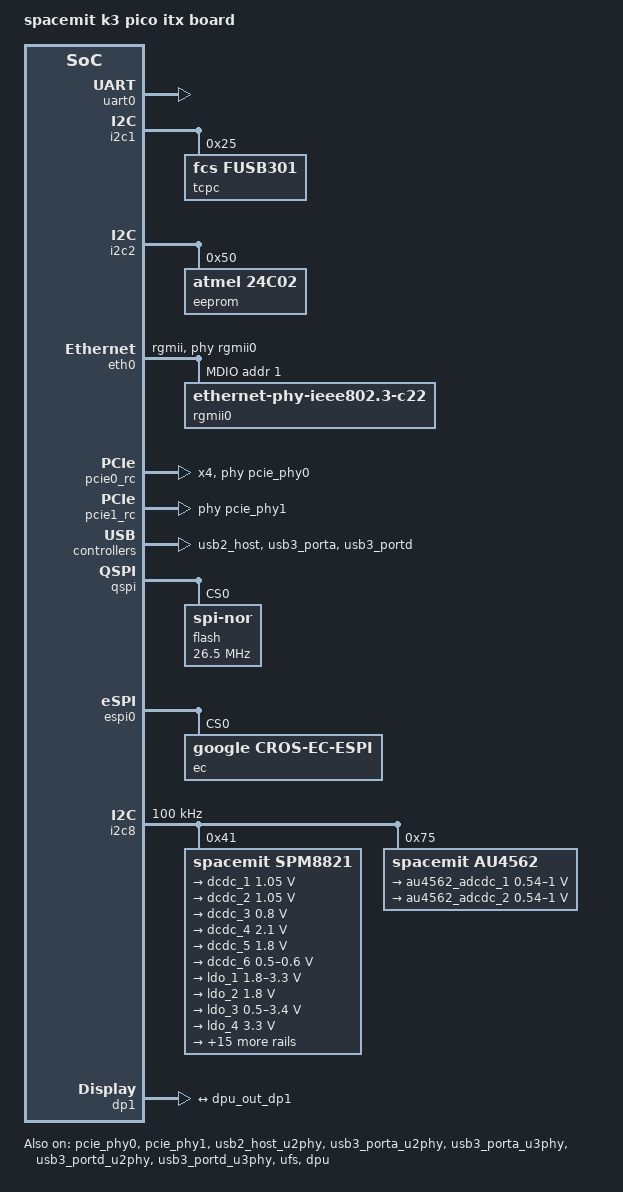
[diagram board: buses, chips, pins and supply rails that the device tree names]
// SPDX-License-Identifier: GPL-2.0
/*
 * finch board's base device tree configure.
 *
 * Copyright (C) 2025 SPACEMIT Micro Limited
 */

#include "k3.dtsi"
#include "k3-pinctrl.dtsi"
#include <dt-bindings/usb/pd.h>

/ {
	model = "spacemit k3 pico itx board";
};

&cpus {
	timebase-frequency = <24000000>;
	clocks = <&ccu CLK_TOP_DCLK>,
		 <&ccu CLK_AXICLK>,
		 <&ccu CLK_CCI550>,
		 <&ccu CLK_CPU_C0_CORE>,
		 <&ccu CLK_CPU_C1_CORE>,
		 <&ccu CLK_CPU_C2_CORE>,
		 <&ccu CLK_CPU_C3_CORE>,
		 <&ccu CLK_PLL3>,
		 <&ccu CLK_PLL4>,
		 <&ccu CLK_PLL5>,
		 <&ccu CLK_PLL8>,
		 <&ccu CLK_PLL3_D1>,
		 <&ccu CLK_CPU_C1_PLL_SRC>,
		 <&ccu CLK_PLL5_D1>,
		 <&ccu CLK_CPU_C3_PLL_SRC>;
	clock-names = "topd", "axi", "cci", "cluster0", "cluster1", "cluster2", "cluster3",
		       "pll3", "pll4", "pll5", "pll8", "pll_src3", "clt1_pll_src", "pll_src5", "clt3_pll_src";
	topd_frequency = <800000000>;
	axi_frequency =  <307000000>;
	cci_frequency =  <1228000000>;
	cluster0_frequency = <2200000000>;
	cluster1_frequency = <2200000000>;
	cluster2_frequency = <1800000000>;
	cluster3_frequency = <1800000000>;
};

&pinctrl {
	pinctrl-single,gpio-range = <
		&range GPIO_89  1 (MUX_MODE0 | EDGE_NONE | PULL_UP   | PAD_DS4)
	>;

	gmac0_grp {
		power-source = <1800>;
	};

	pcie0_1_grp {
		pinctrl-single,pins =<
			K3_PADCONF(GPIO_79, MUX_MODE5, (EDGE_NONE | PULL_UP | PAD_DS15))
			K3_PADCONF(GPIO_81, MUX_MODE5, (EDGE_NONE | PULL_UP | PAD_DS15))
		>;

		power-source = <1800>;
	};

	pcie1_1_grp {
		pinctrl-single,pins =<
			K3_PADCONF(GPIO_88, MUX_MODE4, (EDGE_NONE | PULL_UP | PAD_DS4)) /* PCIeB_perstn */
			K3_PADCONF(GPIO_90, MUX_MODE4, (EDGE_NONE | PULL_UP | PAD_DS4)) /* PCIeB_clkreqn */
		>;
		power-source = <1800>;
	};

	espi0_grp {
		power-source = <1800>;
	};

	usb30_drd_dir_0_cfg: usb30_drd_dir-0-cfg {
		pinctrl-single,pins =<
			K3_PADCONF(GPIO_86, MUX_MODE6, (EDGE_NONE | PULL_UP | PAD_DS8)) /* usb30 drd dir */
		>;
		power-source = <1800>;
	};
};

&gpio{
	gpio-ranges = <
		&pinctrl 89 GPIO_89 1
	>;
};

&uart0 {
	status = "okay";
};

&i2c1 {
	pinctrl-names = "default";
	pinctrl-0 = <&pinctrl_i2c1_3>;
	status = "okay";

	tcpc@25 {
		compatible = "fcs,fusb301";
		reg = <0x25>;

		connector {
			compatible = "usb-c-connector";
			label = "USB-C";
			power-role = "dual";
			data-role = "dual";
			try-power-role = "sink";
			source-pdos = <PDO_FIXED(5000, 2500, PDO_FIXED_USB_COMM)>;
			sink-pdos = <PDO_FIXED(5000, 1400, PDO_FIXED_USB_COMM)>;
			op-sink-microwatt = <15000000>;
			self-powered;
		};
	};
};

&i2c2 {
	#address-cells = <1>;
	#size-cells = <0>;
	pinctrl-names = "default";
	pinctrl-0 = <&pinctrl_i2c2_1>;
	status = "okay";

	eeprom@50{
		compatible = "atmel,24c02";
		reg = <0x50>;
		status = "okay";
	};
};

&eth0 {
	pinctrl-names = "default";
	pinctrl-0 = <&pinctrl_gmac0>;

	phy-reset-pin = <15>;
	max-speed = <1000>;
	clk_tuning_enable;
	clk-tuning-by-delayline;

	tx-phase = <73>;
	rx-phase = <61>;

	phy-mode = "rgmii";
	phy-handle = <&rgmii0>;

	status = "okay";

	mdio {
		#address-cells = <0x1>;
		#size-cells = <0x0>;
		rgmii0: phy@0 {
			compatible = "ethernet-phy-ieee802.3-c22";
			device_type = "ethernet-phy";
			reg = <0x1>;
		};
	};
};

&pcie_phy0 {
	status = "okay";
};

&pcie_phy1 {
	status = "okay";
};

&pcie0_rc {
	pinctrl-names = "default";
	pinctrl-0 = <&pinctrl_pcie0_1>;
	num-lanes = <4>;
	phys = <&pcie_phy0>, <&pcie_phy1>;
	phy-names = "pcie-phy0", "pcie-phy1";
	spacemit,device-detect = <&gpio 89 0>;

	status = "okay";
};

&pcie1_rc {
	pinctrl-names = "default";
	pinctrl-0 = <&pinctrl_pcie1_1>;

	phys = <&pcie_phy1>;
	phy-names = "pcie-phy0";
	status = "okay";
};

&usb2_host_u2phy {
	status = "okay";
};

&usb2_host {
	status = "okay";
};

&usb3_porta_u2phy {
	status = "okay";
};

&usb3_porta_u3phy {
	/* dual phy selection is auto detect from GPIO86(SS_SW_3V3) */
	pinctrl-names = "default";
	pinctrl-0 = <&usb30_drd_dir_0_cfg>;
	status = "okay";
};

&usb3_porta {
	status = "okay";
	u-boot,dm-spl;
	dwc3@cad00000 {
		dr_mode = "peripheral";
		u-boot,dm-spl;
	};
};

&usb3_portd_u2phy {
	status = "okay";
};

&usb3_portd_u3phy {
       status = "okay";
};

&usb3_portd {
	/* TypeC (USB3/DP/Power) (with ANX7447 chip) */
	status = "okay";
};

&ufs {
	status = "okay";
};

&qspi {
	status = "okay";

	flash@0 {
		compatible = "jedec,spi-nor";
		reg = <0>;
		spi-max-frequency = <26500000>;
		m25p,fast-read;
		broken-flash-reset;
		status = "okay";
	};
};

&espi0{
	status = "okay";

	ec: ec@0 {
		compatible = "google,cros-ec-espi";
		reg = <0x0>;

		/* eSPI VW GPIO interrupt configuration */
		espi-vw-gpio-wire = <0>;       /* Wire 0 within the group */
		espi-vw-gpio-index = <0x82>;   /* VM index 0x82 (Group 2/130) */

		i2c_tunnel: i2c-tunnel {
			compatible = "google,cros-ec-i2c-tunnel";
			#address-cells = <1>;
			#size-cells = <0>;
			google,remote-bus = <1>;

			rt7451: retimer@13 {
				compatible = "retimer,rt7451";
				reg = <0x13>;
				primary-addr = <0x13>;
				secondary-addr = <0x29>;
				status = "okay";
			};
		};
	};
};

&i2c8 {
	clock-frequency = <100000>;
	u-boot,dm-spl;
	pinctrl-names = "default";
	pinctrl-0 = <&pinctrl_i2c8>;
	spacemit,sda-glitch-nofix;
	status = "okay";

	spm8821: pmic@41 {
		compatible = "spacemit,spm8821";
		reg = <0x41>;
		bus = <8>;
		u-boot,dm-spl;

		regulators {
			/* buck */
			dcdc_1: DCDC_REG1 {
				regulator-name = "dcdc1";
				regulator-min-microvolt = <1050000>;
				regulator-max-microvolt = <1050000>;
				/* regulator-init-microvolt = <1050000>; */
				regulator-always-on;
				regulator-boot-on;
				u-boot,dm-spl;
			};

			dcdc_2: DCDC_REG2 {
				regulator-name = "dcdc2";
				regulator-min-microvolt = <1050000>;
				regulator-max-microvolt = <1050000>;
				regulator-always-on;
				regulator-boot-on;
			};

			dcdc_3: DCDC_REG3 {
				regulator-name = "dcdc3";
				regulator-min-microvolt = <800000>;
				regulator-max-microvolt = <800000>;
				regulator-always-on;
				regulator-boot-on;
				u-boot,dm-spl;
			};

			dcdc_4: DCDC_REG4 {
				regulator-name = "dcdc4";
				regulator-min-microvolt = <2100000>;
				regulator-max-microvolt = <2100000>;
				regulator-always-on;
				regulator-boot-on;
			};

			dcdc_5: DCDC_REG5 {
				regulator-name = "dcdc5";
				regulator-min-microvolt = <1800000>;
				regulator-max-microvolt = <1800000>;
				regulator-always-on;
				regulator-boot-on;
			};

			dcdc_6: DCDC_REG6 {
				regulator-name = "dcdc6";
				regulator-min-microvolt = <500000>;
				regulator-max-microvolt = <600000>;
				regulator-always-on;
				regulator-boot-on;
			};

			/* aldo */
			ldo_1: LDO_REG1 {
				regulator-name = "ldo1";
				regulator-min-microvolt = <1800000>;
				regulator-max-microvolt = <3300000>;
				/* regulator-init-microvolt = <3300000>; */
				regulator-always-on;
				regulator-boot-on;
				u-boot,dm-spl;
			};

			ldo_2: LDO_REG2 {
				regulator-name = "ldo2";
				regulator-min-microvolt = <1800000>;
				regulator-max-microvolt = <1800000>;
				regulator-always-on;
				regulator-boot-on;
			};

			ldo_3: LDO_REG3 {
				regulator-name = "ldo3";
				regulator-min-microvolt = <500000>;
				regulator-max-microvolt = <3400000>;
			};

			ldo_4: LDO_REG4 {
				regulator-name = "ldo4";
				regulator-min-microvolt = <3300000>;
				regulator-max-microvolt = <3300000>;
				regulator-always-on;
				regulator-boot-on;
			};

			/* dldo */
			ldo_5: LDO_REG5 {
				regulator-name = "ldo5";
				regulator-min-microvolt = <1200000>;
				regulator-max-microvolt = <1200000>;
				regulator-always-on;
				regulator-boot-on;
			};

			ldo_6: LDO_REG6 {
				regulator-name = "ldo6";
				regulator-min-microvolt = <900000>;
				regulator-max-microvolt = <900000>;
				regulator-always-on;
				regulator-boot-on;
			};

			ldo_7: LDO_REG7 {
				regulator-name = "ldo7";
				regulator-min-microvolt = <800000>;
				regulator-max-microvolt = <800000>;
				regulator-always-on;
				regulator-boot-on;
			};

			ldo_8: LDO_REG8 {
				regulator-name = "ldo8";
				regulator-min-microvolt = <1800000>;
				regulator-max-microvolt = <1800000>;
				regulator-boot-on;
			};

			ldo_9: LDO_REG9 {
				regulator-name = "ldo9";
				regulator-min-microvolt = <1800000>;
				regulator-max-microvolt = <1800000>;
				regulator-always-on;
				regulator-boot-on;
			};

			ldo_10: LDO_REG10 {
				regulator-name = "ldo10";
				regulator-min-microvolt = <1800000>;
				regulator-max-microvolt = <1800000>;
				regulator-always-on;
				regulator-boot-on;
			};

			ldo_11: LDO_REG11 {
				regulator-name = "ldo11";
				regulator-min-microvolt = <1800000>;
				regulator-max-microvolt = <1800000>;
				regulator-always-on;
				regulator-boot-on;
			};

			sw_2: SWITCH_REG1 {
				regulator-name = "switch1";
			};

			power_event: SWITCH_REG2 {
				regulator-name = "pwr-event";
			};

			power_int: SWITCH_REG3 {
				regulator-name = "pwr-int";
			};

			rtc_ctrl: SWITCH_REG4 {
				regulator-name = "rtc-ctrl";
			};

			rtc_event: SWITCH_REG5 {
				regulator-name = "rtc-event";
			};

			rtc_irq: SWITCH_REG6 {
				regulator-name = "rtc-irq";
			};

			power_down: SWITCH_REG7 {
				regulator-name = "power-down";
			};

			reboot_flag: SWITCH_REG8 {
				regulator-name = "reboot-flag";
			};

			wdt_pm8821: PMIC_WDT {
				wdt-name = "wdt_pm8821";
			};
		};
	};

	au4562: au4562@75 {
		compatible = "spacemit,au4562";
		reg = <0x75>;
		bus = <8>;
		u-boot,dm-spl;

		regulators {
			u-boot,dm-spl;

			au4562_adcdc_1: ADCDC_REG1 {
				regulator-name = "adcdc1";
				regulator-min-microvolt = <540000>;
				regulator-max-microvolt = <1000000>;
				regulator-init-microvolt = <950000>;
				regulator-boot-on;
				u-boot,dm-spl;
				regulator-state-mem {
					regulator-off-in-suspend;
				};
			};

			au4562_adcdc_2: ADCDC_REG2 {
				regulator-name = "adcdc2";
				regulator-min-microvolt = <540000>;
				regulator-max-microvolt = <1000000>;
				regulator-init-microvolt = <950000>;
				regulator-boot-on;
				u-boot,dm-spl;
				regulator-state-mem {
					regulator-off-in-suspend;
				};
			};
		};
	};
};

&dpu {
	status = "okay";

	dpu_out: port {
		#address-cells = <1>;
		#size-cells = <0>;

		dpu_out_dp1: endpoint@1 {
			reg = <1>;
			remote-endpoint = <&dp1_in_dpu>;
		};
	};

};

&dp1 {
	pinctrl-names = "default";
	pinctrl-0 = <&pinctrl_dp1_1>;
	status = "okay";

	ports {
		dp1_in: port {
			#address-cells = <1>;
			#size-cells = <0>;
			dp1_in_dpu: endpoint@0 {
				reg = <0>;
				remote-endpoint = <&dpu_out_dp1>;
			};
		};
	};
};
